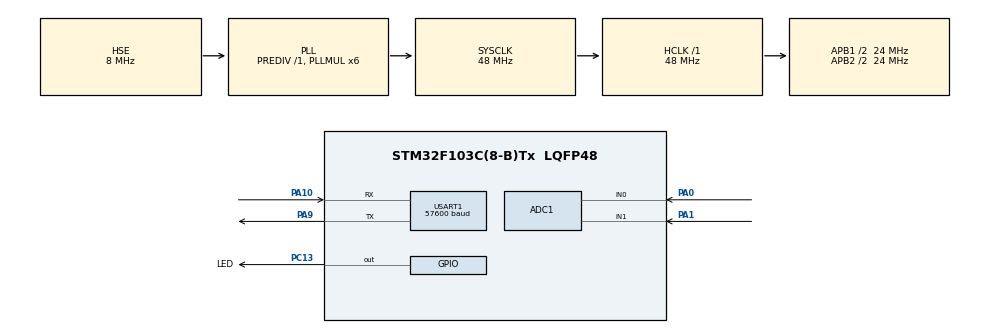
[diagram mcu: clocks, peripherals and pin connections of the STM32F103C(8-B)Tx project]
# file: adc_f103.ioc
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Mcu.Family=STM32F1
RCC.PLLSourceVirtual=RCC_PLLSOURCE_HSE
NVIC.ADC1_2_IRQn=true\:0\:0\:false\:false\:true\:true\:true
Dma.ADC1.0.Instance=DMA1_Channel1
PD1-OSC_OUT.Mode=HSE-External-Oscillator
PA10.Mode=Asynchronous
ADC1.ContinuousConvMode=DISABLE
USART1.BaudRate=57600
ADC1.SamplingTime-6\#ChannelRegularConversion=ADC_SAMPLETIME_1CYCLE_5
PC13-TAMPER-RTC.Signal=GPIO_Output
PD0-OSC_IN.Signal=RCC_OSC_IN
RCC.APB1CLKDivider=RCC_HCLK_DIV2
RCC.SYSCLKSource=RCC_SYSCLKSOURCE_PLLCLK
ProjectManager.StackSize=0x400
PA0-WKUP.Signal=ADCx_IN0
PD1-OSC_OUT.Signal=RCC_OSC_OUT
PA13.Signal=SYS_JTMS-SWDIO
Dma.ADC1.0.PeriphDataAlignment=DMA_PDATAALIGN_HALFWORD
PA9.Mode=Asynchronous
ADC1.Channel-5\#ChannelRegularConversion=ADC_CHANNEL_0
ProjectManager.TargetToolchain=STM32CubeIDE
Dma.ADC1.0.Mode=DMA_NORMAL
RCC.HCLKFreq_Value=48000000
Dma.ADC1.0.Priority=DMA_PRIORITY_LOW
RCC.APB2TimFreq_Value=48000000
PA9.Signal=USART1_TX
Dma.ADC1.0.Direction=DMA_PERIPH_TO_MEMORY
RCC.USBFreq_Value=48000000
Dma.ADC1.0.MemDataAlignment=DMA_MDATAALIGN_HALFWORD
PA1.Signal=ADCx_IN1
RCC.AHBFreq_Value=48000000
PD0-OSC_IN.Mode=HSE-External-Oscillator
board=custom
PC13-TAMPER-RTC.GPIO_Label=LED
RCC.PLLMUL=RCC_PLL_MUL6
ADC1.Channel-6\#ChannelRegularConversion=ADC_CHANNEL_1
RCC.APB2Freq_Value=24000000
PA14.Mode=Serial_Wire
Dma.ADC1.0.PeriphInc=DMA_PINC_DISABLE
SH.ADCx_IN0.0=ADC1_IN0,IN0
ADC1.NbrOfConversion=2
PA13.Mode=Serial_Wire
Mcu.Name=STM32F103C(8-B)Tx
RCC.SYSCLKFreq_VALUE=48000000
Mcu.Package=LQFP48
ADC1.master=1
USART1.VirtualMode=VM_ASYNC
PA10.Signal=USART1_RX
PA14.Signal=SYS_JTCK-SWCLK
Dma.ADC1.0.MemInc=DMA_MINC_ENABLE
ProjectManager.HeapSize=0x200
ADC1.SamplingTime-5\#ChannelRegularConversion=ADC_SAMPLETIME_1CYCLE_5
NVIC.PriorityGroup=NVIC_PRIORITYGROUP_4
ADC1.NbrOfConversionFlag=1
RCC.APB2CLKDivider=RCC_HCLK_DIV2
SH.ADCx_IN1.0=ADC1_IN1,IN1
RCC.APB1TimFreq_Value=48000000
NVIC.DMA1_Channel1_IRQn=true\:0\:0\:false\:false\:true\:false\:true
ADC1.Rank-6\#ChannelRegularConversion=2
Dma.Request0=ADC1
RCC.APB1Freq_Value=24000000
ADC1.Rank-5\#ChannelRegularConversion=1

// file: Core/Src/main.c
/* USER CODE BEGIN Header */
/**
  ******************************************************************************
  * @file           : main.c
  * @brief          : Main program body
  ******************************************************************************
  * @attention
  *
  * <h2><center>&copy; Copyright (c) 2021 STMicroelectronics.
  * All rights reserved.</center></h2>
  *
  * This software component is licensed by ST under BSD 3-Clause license,
  * the "License"; You may not use this file except in compliance with the
  * License. You may obtain a copy of the License at:
  *                        opensource.org/licenses/BSD-3-Clause
  *
  ******************************************************************************
  */
/* USER CODE END Header */
#include "main.h"

/* USER CODE BEGIN Includes */
#include "stdio.h"
#include "string.h"
/* USER CODE END Includes */

ADC_HandleTypeDef hadc1;
DMA_HandleTypeDef hdma_adc1;

UART_HandleTypeDef huart1;

/* USER CODE BEGIN PV */
char msg_UART_TX [55];

uint16_t value_adc = 0;

volatile uint8_t flag = 0; //флаг окончания преобразования АЦП

volatile uint16_t adc[2] = {0, 0}; //  два канала АЦП поэтому массив из двух элементо
/* USER CODE END PV */

void SystemClock_Config(void);
static void MX_GPIO_Init(void);
static void MX_DMA_Init(void);
static void MX_ADC1_Init(void);
static void MX_USART1_UART_Init(void);

int main(void)
{

  /* MCU Configuration--------------------------------------------------------*/

  /* Reset of all peripherals, Initializes the Flash interface and the Systick. */
  HAL_Init();

  /* Configure the system clock */
  SystemClock_Config();

  /* Initialize all configured peripherals */
  MX_GPIO_Init();
  MX_DMA_Init();
  MX_ADC1_Init();
  MX_USART1_UART_Init();
  /* USER CODE BEGIN 2 */
  HAL_GPIO_WritePin(LED_GPIO_Port, LED_Pin, ENABLE);
  sprintf (msg_UART_TX, "%lu, %lu, %lu, %lu\r\n", HAL_RCC_GetSysClockFreq(), HAL_RCC_GetHCLKFreq(), HAL_RCC_GetPCLK1Freq(), HAL_RCC_GetPCLK2Freq());
  HAL_UART_Transmit (&huart1, (uint8_t*)msg_UART_TX, strlen(msg_UART_TX), 0xFF);
  sprintf (msg_UART_TX, "adc_DMA_start\r\n");
  HAL_UART_Transmit (&huart1, (uint8_t*)msg_UART_TX, strlen(msg_UART_TX), 0xFF);
  HAL_ADCEx_Calibration_Start(&hadc1); //калибровка adc1
  sprintf (msg_UART_TX, "adc_calibrate\r\n");
  HAL_UART_Transmit (&huart1, (uint8_t*)msg_UART_TX, strlen(msg_UART_TX), 0xFF);
  HAL_ADC_Start_DMA(&hadc1, (uint32_t*)&adc, 2); // стартуем АЦП с DMA
  /* USER CODE END 2 */

  /* Infinite loop */
  while (1)
  {

    /* USER CODE BEGIN 3 */
/*	HAL_GPIO_TogglePin (LED_GPIO_Port, LED_Pin);
	HAL_ADC_Start(&hadc1); // запускаем преобразование сигнала АЦП
	HAL_ADC_PollForConversion(&hadc1, 100); // ожидаем окончания преобразования
	value_adc = HAL_ADC_GetValue(&hadc1); // читаем полученное значение в переменную adc
	HAL_ADC_Stop(&hadc1); // останавливаем АЦП (не обязательно)
	sprintf(msg_UART_TX,  "ADC=%hd\n", (uint16_t)value_adc);
	HAL_UART_Transmit(&huart1, (uint8_t*)msg_UART_TX, strlen(msg_UART_TX), 1000);
	HAL_Delay(1000);*/

 if (flag)
 {
	 flag = 0;
	 HAL_GPIO_TogglePin (LED_GPIO_Port, LED_Pin);
	 HAL_ADC_Stop_DMA(&hadc1); // останавливаем АЦП1
	 sprintf(msg_UART_TX,  "ADC %hd %hd\n\r", (uint16_t)adc[0], (uint16_t)adc[1]);
	 HAL_UART_Transmit(&huart1, (uint8_t*)msg_UART_TX, strlen(msg_UART_TX), 1000);
	 adc[0] = 0;
	 adc[1] = 0;
	 HAL_Delay(500);
	 HAL_ADC_Start_DMA(&hadc1, (uint32_t*)&adc, 2); // запускаем преобразование сигнала АЦП1
 }

  }
  /* USER CODE END 3 */
}

void SystemClock_Config(void)
{
  RCC_OscInitTypeDef RCC_OscInitStruct = {0};
  RCC_ClkInitTypeDef RCC_ClkInitStruct = {0};
  RCC_PeriphCLKInitTypeDef PeriphClkInit = {0};

  /** Initializes the RCC Oscillators according to the specified parameters
  * in the RCC_OscInitTypeDef structure.
  */
  RCC_OscInitStruct.OscillatorType = RCC_OSCILLATORTYPE_HSE;
  RCC_OscInitStruct.HSEState = RCC_HSE_ON;
  RCC_OscInitStruct.HSEPredivValue = RCC_HSE_PREDIV_DIV1;
  RCC_OscInitStruct.HSIState = RCC_HSI_ON;
  RCC_OscInitStruct.PLL.PLLState = RCC_PLL_ON;
  RCC_OscInitStruct.PLL.PLLSource = RCC_PLLSOURCE_HSE;
  RCC_OscInitStruct.PLL.PLLMUL = RCC_PLL_MUL6;
  if (HAL_RCC_OscConfig(&RCC_OscInitStruct) != HAL_OK)
  {
    Error_Handler();
  }
  /** Initializes the CPU, AHB and APB buses clocks
  */
  RCC_ClkInitStruct.ClockType = RCC_CLOCKTYPE_HCLK|RCC_CLOCKTYPE_SYSCLK
                              |RCC_CLOCKTYPE_PCLK1|RCC_CLOCKTYPE_PCLK2;
  RCC_ClkInitStruct.SYSCLKSource = RCC_SYSCLKSOURCE_PLLCLK;
  RCC_ClkInitStruct.AHBCLKDivider = RCC_SYSCLK_DIV1;
  RCC_ClkInitStruct.APB1CLKDivider = RCC_HCLK_DIV2;
  RCC_ClkInitStruct.APB2CLKDivider = RCC_HCLK_DIV2;

  if (HAL_RCC_ClockConfig(&RCC_ClkInitStruct, FLASH_LATENCY_1) != HAL_OK)
  {
    Error_Handler();
  }
  PeriphClkInit.PeriphClockSelection = RCC_PERIPHCLK_ADC;
  PeriphClkInit.AdcClockSelection = RCC_ADCPCLK2_DIV2;
  if (HAL_RCCEx_PeriphCLKConfig(&PeriphClkInit) != HAL_OK)
  {
    Error_Handler();
  }
}

static void MX_ADC1_Init(void)
{

  ADC_ChannelConfTypeDef sConfig = {0};

  /** Common config
  */
  hadc1.Instance = ADC1;
  hadc1.Init.ScanConvMode = ADC_SCAN_ENABLE;
  hadc1.Init.ContinuousConvMode = DISABLE;
  hadc1.Init.DiscontinuousConvMode = DISABLE;
  hadc1.Init.ExternalTrigConv = ADC_SOFTWARE_START;
  hadc1.Init.DataAlign = ADC_DATAALIGN_RIGHT;
  hadc1.Init.NbrOfConversion = 2;
  if (HAL_ADC_Init(&hadc1) != HAL_OK)
  {
    Error_Handler();
  }
  /** Configure Regular Channel
  */
  sConfig.Channel = ADC_CHANNEL_0;
  sConfig.Rank = ADC_REGULAR_RANK_1;
  sConfig.SamplingTime = ADC_SAMPLETIME_1CYCLE_5;
  if (HAL_ADC_ConfigChannel(&hadc1, &sConfig) != HAL_OK)
  {
    Error_Handler();
  }
  /** Configure Regular Channel
  */
  sConfig.Channel = ADC_CHANNEL_1;
  sConfig.Rank = ADC_REGULAR_RANK_2;
  if (HAL_ADC_ConfigChannel(&hadc1, &sConfig) != HAL_OK)
  {
    Error_Handler();
  }

}

static void MX_USART1_UART_Init(void)
{

  huart1.Instance = USART1;
  huart1.Init.BaudRate = 57600;
  huart1.Init.WordLength = UART_WORDLENGTH_8B;
  huart1.Init.StopBits = UART_STOPBITS_1;
  huart1.Init.Parity = UART_PARITY_NONE;
  huart1.Init.Mode = UART_MODE_TX_RX;
  huart1.Init.HwFlowCtl = UART_HWCONTROL_NONE;
  huart1.Init.OverSampling = UART_OVERSAMPLING_16;
  if (HAL_UART_Init(&huart1) != HAL_OK)
  {
    Error_Handler();
  }

}

static void MX_DMA_Init(void)
{

  /* DMA controller clock enable */
  __HAL_RCC_DMA1_CLK_ENABLE();

  /* DMA interrupt init */
  /* DMA1_Channel1_IRQn interrupt configuration */
  HAL_NVIC_SetPriority(DMA1_Channel1_IRQn, 0, 0);
  HAL_NVIC_EnableIRQ(DMA1_Channel1_IRQn);

}

static void MX_GPIO_Init(void)
{
  GPIO_InitTypeDef GPIO_InitStruct = {0};

  /* GPIO Ports Clock Enable */
  __HAL_RCC_GPIOC_CLK_ENABLE();
  __HAL_RCC_GPIOD_CLK_ENABLE();
  __HAL_RCC_GPIOA_CLK_ENABLE();

  /*Configure GPIO pin Output Level */
  HAL_GPIO_WritePin(LED_GPIO_Port, LED_Pin, GPIO_PIN_RESET);

  /*Configure GPIO pin : LED_Pin */
  GPIO_InitStruct.Pin = LED_Pin;
  GPIO_InitStruct.Mode = GPIO_MODE_OUTPUT_PP;
  GPIO_InitStruct.Pull = GPIO_NOPULL;
  GPIO_InitStruct.Speed = GPIO_SPEED_FREQ_LOW;
  HAL_GPIO_Init(LED_GPIO_Port, &GPIO_InitStruct);

}

/* USER CODE BEGIN 4 */
void HAL_ADC_ConvCpltCallback(ADC_HandleTypeDef* hadc)
{
    if(hadc->Instance == ADC1)
    {
    	flag = 1;
    }
}

void HAL_ADC_ErrorCallback(ADC_HandleTypeDef *hadc)
{
	if(hadc->Instance == ADC1)
	    {
		sprintf (msg_UART_TX, "ADC1_error\n\r");
		HAL_UART_Transmit(&huart1, (uint8_t*)msg_UART_TX, strlen(msg_UART_TX), 1000);
	    }
}
/* USER CODE END 4 */

void Error_Handler(void)
{
  __disable_irq();
  while (1)
  {
  }
}

/************************ (C) COPYRIGHT STMicroelectronics *****END OF FILE****/
